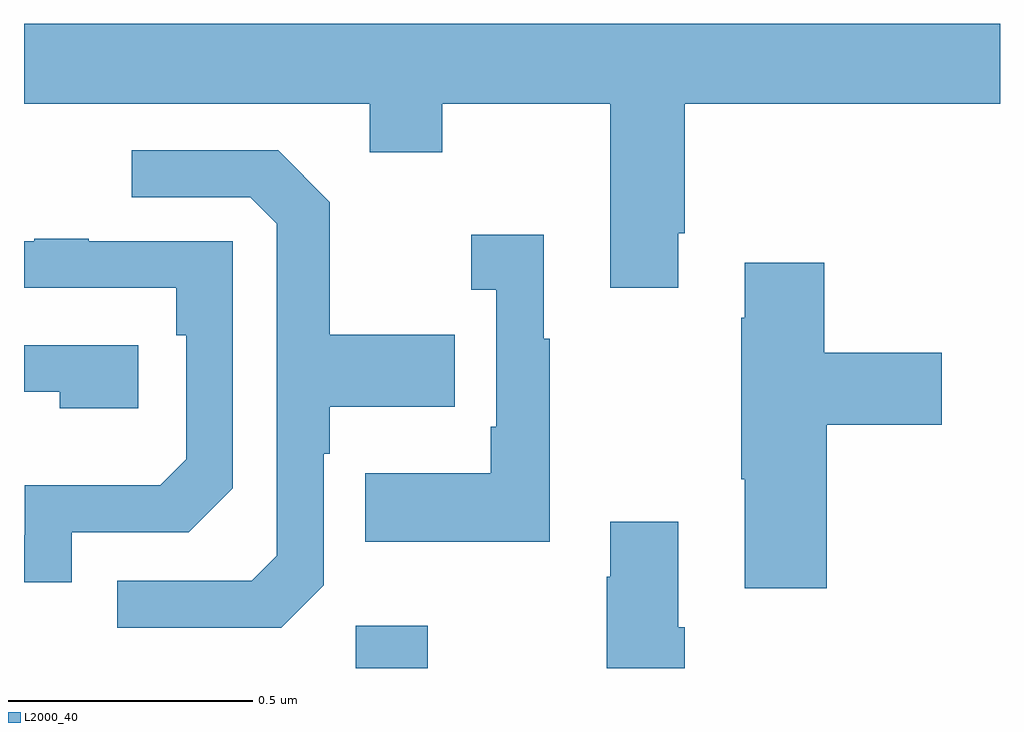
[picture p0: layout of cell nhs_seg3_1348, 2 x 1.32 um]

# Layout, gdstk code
import gdstk
lib = gdstk.Library(unit=1e-6, precision=1e-09)
def R(c, l, rs):  # rectangles x0, y0, x1, y1
    for r in rs: c.add(gdstk.rectangle(r[:2], r[2:], *l))
def P(c, l, *ps):  # polygons
    for p in ps: c.add(gdstk.Polygon(p, *l))
L2000_40 = (2000, 40)

nhs_seg3_1348 = lib.new_cell('nhs_seg3_1348')
R(nhs_seg3_1348, L2000_40, [(127.68,726.4,127.827,726.487)])
P(nhs_seg3_1348, L2000_40, [(128.341,727.291),(128.354,727.291),(128.354,727.556),(129,727.556),(129,727.72),(127,727.72),(127,727.556),(127.709,727.556),(127.709,727.457),(127.857,727.457),(127.857,727.556),(128.201,727.556),(128.201,727.179),(128.341,727.179)],
  [(127.614,726.57),(127.614,726.839),(127.627,726.839),(127.627,726.935),(127.883,726.935),(127.883,727.083),(127.627,727.083),(127.627,727.355),(127.521,727.461),(127.221,727.461),(127.221,727.365),(127.464,727.365),(127.518,727.311),(127.518,726.63),(127.467,726.579),(127.191,726.579),(127.191,726.483),(127.527,726.483)],
  [(128.077,727.075),(128.065,727.075),(128.065,727.288),(127.917,727.288),(127.917,727.175),(127.968,727.175),(127.968,726.895),(127.956,726.895),(127.956,726.799),(127.699,726.799),(127.699,726.659),(128.077,726.659)],
  [(127.098,726.678),(127.338,726.678),(127.428,726.768),(127.428,727.275),(127.133,727.275),(127.133,727.28),(127.021,727.28),(127.021,727.275),(127,727.275),(127,727.179),(127.312,727.179),(127.312,727.082),(127.332,727.082),(127.332,726.828),(127.279,726.775),(127.002,726.775),(127.002,726.672),(127,726.672),(127,726.576),(127.098,726.576)],
  [(128.645,726.899),(128.881,726.899),(128.881,727.046),(128.64,727.046),(128.64,727.231),(128.477,727.231),(128.477,727.118),(128.47,727.118),(128.47,726.787),(128.477,726.787),(128.477,726.564),(128.645,726.564)],
  [(127.234,727.062),(127,727.062),(127,726.966),(127.073,726.966),(127.073,726.932),(127.234,726.932)],
  [(128.354,726.484),(128.341,726.484),(128.341,726.7),(128.201,726.7),(128.201,726.587),(128.194,726.587),(128.194,726.4),(128.354,726.4)])

lib.write_gds('nhs_seg3_1348.gds')
